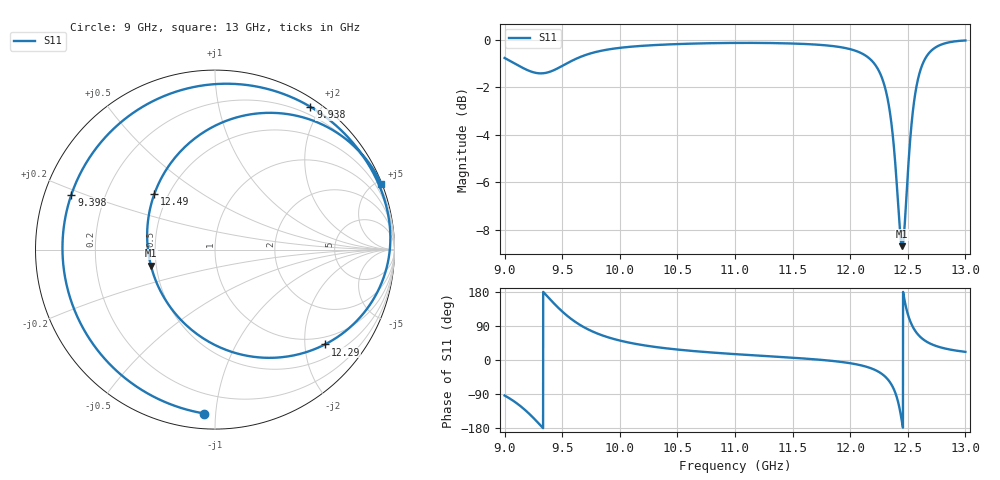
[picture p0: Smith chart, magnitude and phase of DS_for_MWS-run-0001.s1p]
! TOUCHSTONE file generated by CST DESIGN STUDIO
! Date and time: Tue Feb  4 17:42:30 2025
! Project name: C:\Work\MatlabApps\UnitCellOptimizationMatlab\CST\unitcell.cst
! Tree item: Tasks\Sweep1\SPara1\S-Parameters
! Header version: 2024
! Port assignment regex: !\s*Touchstone port\s*([0-9]+)\s*=\s*(CST MWS port|CST DES external port|CST DES block port)\s*(.+)\s* \(\"(.*)\"\)(\s*mode\s*([0-9]+))?.*
! Touchstone port assignment:
! Touchstone port 1 = CST DES external port 1 ("")
# GHz S MA R 50
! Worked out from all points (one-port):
!   4001 points, 9 GHz to 13 GHz, reference 50 ohm
!   lowest |S11| = -8.7 dB at 12.45 GHz (marker M1), VSWR 2.17, Z = 23.4 - j4.88 ohm
!   |S11| at or under -10 dB: nowhere
!   S11 on the Smith chart (normalised r, x): 9 GHz: 0.08, -0.93; 9.398 GHz: 0.08, +0.18; 9.938 GHz: 0.10, +1.87; 12.29 GHz: 0.81, -2.46; 12.49 GHz: 0.42, +0.33; 13 GHz: 0.06, +5.27
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9  0.9151 -93.7
9.099  0.8878 -112.8
9.187  0.8653 -134.4
9.3  0.8496 -168.7
9.398  0.8569 159.0
9.5  0.8806 128.1
9.578  0.9013 108.4
9.665  0.9212 90.7
9.795  0.9425 71.1
9.938  0.9568 56.3
10  0.9611 51.3
10.5  0.9788 27.6
11  0.9843 15.5
11.5  0.9814 6.0
12  0.955 -8.5
12.182  0.9059 -22.0
12.292  0.8092 -40.7
12.385  0.5737 -81.4
12.417  0.4462 -112.2
12.451  0.3681 -165.8
12.486  0.4585 137.5
12.5  0.5224 121.2
12.531  0.6588 95.2
12.565  0.7713 76.6
12.618  0.8751 58.3
12.678  0.9331 45.8
12.803  0.979 31.8
13  0.9961 21.5
